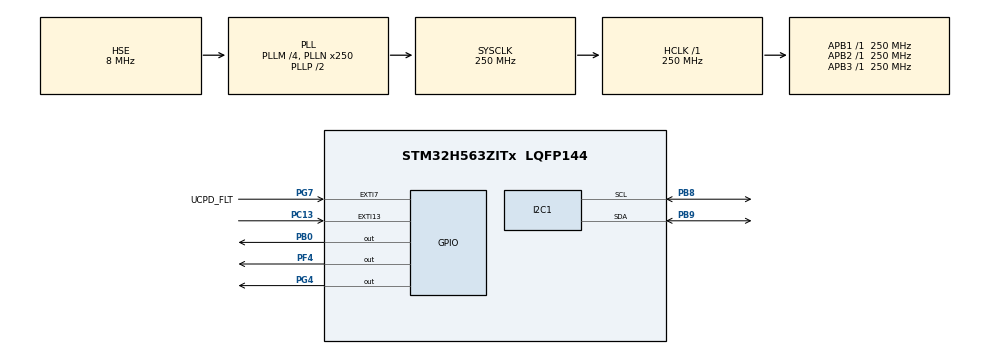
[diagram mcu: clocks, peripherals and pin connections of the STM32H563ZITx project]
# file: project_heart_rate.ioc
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BOOTPATH.BootPathName=LEGACY
BOOTPATH.UserSelectedBootPath=LEGACY
CORTEX_M33_NS.userName=CORTEX_M33
I2C1.Timing=0x60808CD3
Mcu.Family=STM32H5
Mcu.Name=STM32H563ZITx
Mcu.Package=LQFP144
NVIC.PriorityGroup=NVIC_PRIORITYGROUP_3
NVIC.TIM2_IRQn=true\:0\:1\:false\:false\:true\:true\:true\:true
PA1.GPIO_Label=RMII_REF_CLK
PA1.GPIO_Mode=GPIO_MODE_AF_PP
PA1.GPIO_PuPd=GPIO_NOPULL
PA1.GPIO_Speed=GPIO_SPEED_FREQ_LOW
PA1.Signal=ETH_REF_CLK
PA11.GPIO_Label=USB_FS_N
PA11.Signal=USB_DM
PA12.GPIO_Label=USB_FS_P
PA12.Signal=USB_DP
PA13(JTMS/SWDIO).GPIO_Label=SWDIO
PA13(JTMS/SWDIO).Signal=DEBUG_JTMS-SWDIO
PA14(JTCK/SWCLK).GPIO_Label=SWCLK
PA14(JTCK/SWCLK).Signal=DEBUG_JTCK-SWCLK
PA15(JTDI).GPIO_Label=T_JTDI
PA15(JTDI).Signal=DEBUG_JTDI
PA2.GPIO_Label=RMII_MDIO
PA2.GPIO_Mode=GPIO_MODE_AF_PP
PA2.GPIO_PuPd=GPIO_NOPULL
PA2.GPIO_Speed=GPIO_SPEED_FREQ_LOW
PA2.Signal=ETH_MDIO
PA4.GPIO_Label=VBUS_SENSE
PA4.Signal=ADCx_INP18
PA7.GPIO_Label=RMII_CRS_DV
PA7.GPIO_Mode=GPIO_MODE_AF_PP
PA7.GPIO_PuPd=GPIO_NOPULL
PA7.GPIO_Speed=GPIO_SPEED_FREQ_LOW
PA7.Signal=ETH_CRS_DV
PA9.GPIO_Label=UCDP_DBn
PA9.Signal=UCPD1_DB1
PB0.Signal=GPIO_Output
PB13.GPIO_Label=UCPD_CC1
PB13.Signal=UCPD1_CC1
PB14.GPIO_Label=UCPD_CC2
PB14.Signal=UCPD1_CC2
PB15.GPIO_Label=RMII_TXD1
PB15.GPIO_Mode=GPIO_MODE_AF_PP
PB15.GPIO_PuPd=GPIO_NOPULL
PB15.GPIO_Speed=GPIO_SPEED_FREQ_LOW
PB15.Signal=ETH_TXD1
PB3(JTDO/TRACESWO).GPIO_Label=SWO
PB3(JTDO/TRACESWO).Signal=DEBUG_JTDO-SWO
PB6.GPIO_Label=ARD_D1_TX
PB6.Signal=LPUART1_TX
PB7.GPIO_Label=ARD_D0_RX
PB7.Signal=LPUART1_RX
PB8.Mode=I2C
PB8.Signal=I2C1_SCL
PB9.Mode=I2C
PB9.Signal=I2C1_SDA
PC1.GPIO_Label=RMII_MDC
PC1.GPIO_Mode=GPIO_MODE_AF_PP
PC1.GPIO_PuPd=GPIO_NOPULL
PC1.GPIO_Speed=GPIO_SPEED_FREQ_LOW
PC1.Signal=ETH_MDC
PC13.Signal=GPXTI13
PC14-OSC32_IN(OSC32_IN).Mode=LSE-External-Oscillator
PC14-OSC32_IN(OSC32_IN).Signal=RCC_OSC32_IN
PC15-OSC32_OUT(OSC32_OUT).Mode=LSE-External-Oscillator
PC15-OSC32_OUT(OSC32_OUT).Signal=RCC_OSC32_OUT
PC4.GPIO_Label=RMII_RXD0
PC4.GPIO_Mode=GPIO_MODE_AF_PP
PC4.GPIO_PuPd=GPIO_NOPULL
PC4.GPIO_Speed=GPIO_SPEED_FREQ_LOW
PC4.Signal=ETH_RXD0
PC5.GPIO_Label=RMII_RXD1
PC5.GPIO_Mode=GPIO_MODE_AF_PP
PC5.GPIO_PuPd=GPIO_NOPULL
PC5.GPIO_Speed=GPIO_SPEED_FREQ_LOW
PC5.Signal=ETH_RXD1
PD8.Signal=USART3_TX
PD9.Signal=USART3_RX
PE2.GPIO_Label=TRACE_CK
PE2.Signal=DEBUG_TRACECLK
PE3.GPIO_Label=TRACE_D0
PE3.Signal=DEBUG_TRACED0
PE4.GPIO_Label=TRACE_D1
PE4.Signal=DEBUG_TRACED1
PE5.GPIO_Label=TRACE_D2
PE5.Signal=DEBUG_TRACED2
PE6.GPIO_Label=TRACE_D3
PE6.Signal=DEBUG_TRACED3
PF4.Signal=GPIO_Output
PG11.GPIO_Label=RMII_TXT_EN
PG11.GPIO_Mode=GPIO_MODE_AF_PP
PG11.GPIO_PuPd=GPIO_NOPULL
PG11.GPIO_Speed=GPIO_SPEED_FREQ_LOW
PG11.Signal=ETH_TX_EN
PG13.GPIO_Label=RMI_TXD0
PG13.GPIO_Mode=GPIO_MODE_AF_PP
PG13.GPIO_PuPd=GPIO_NOPULL
PG13.GPIO_Speed=GPIO_SPEED_FREQ_LOW
PG13.Signal=ETH_TXD0
PG4.Signal=GPIO_Output
PG7.GPIO_Label=UCPD_FLT
PG7.Signal=GPXTI7
PH0-OSC_IN(PH0).GPIO_Label=STLK_MCO
PH0-OSC_IN(PH0).Mode=HSE-External-Clock-Source
PH0-OSC_IN(PH0).Signal=RCC_OSC_IN
ProjectManager.HeapSize=0x200
ProjectManager.StackSize=0x400
ProjectManager.TargetToolchain=STM32CubeIDE
RCC.ADCFreq_Value=250000000
RCC.AHBFreq_Value=250000000
RCC.APB1Freq_Value=250000000
RCC.APB1TimFreq_Value=250000000
RCC.APB2Freq_Value=250000000
RCC.APB2TimFreq_Value=250000000
RCC.APB3Freq_Value=250000000
RCC.CSI_VALUE=4000000
RCC.CortexFreq_Value=250000000
RCC.EPOD_VALUE=8000000
RCC.HCLKFreq_Value=250000000
RCC.HSE_VALUE=8000000
RCC.HSI48_VALUE=48000000
RCC.HSIDiv=RCC_HSI_DIV1
RCC.HSI_VALUE=64000000
RCC.LSIRC_VALUE=32000
RCC.PLLM=4
RCC.PLLN=250
RCC.PLLSourceVirtual=RCC_PLL1_SOURCE_HSE
RCC.SYSCLKFreq_VALUE=250000000
RCC.SYSCLKSource=RCC_SYSCLKSOURCE_PLLCLK
RCC.USBFreq_Value=48000000
RCC.VCOOutputFreq_Value=500000000
SH.ADCx_INP18.0=ADC1_INP18
TIM2.PeriodNoDither=99
TIM2.Prescaler=24999
VP_BOOTPATH_VS_BOOTPATH.Mode=BP_Activate
VP_CORTEX_M33_NS_VS_Hclk.Mode=Hclk_Mode
VP_MEMORYMAP_VS_MEMORYMAP.Mode=CurAppReg
VP_PWR_VS_DBSignals.Mode=DisableDeadBatterySignals
VP_PWR_VS_LPOM.Mode=PowerOptimisation
VP_PWR_VS_SECSignals.Mode=Security/Privilege
VP_TIM2_VS_ClockSourceINT.Mode=Internal
board=NUCLEO-H563ZI

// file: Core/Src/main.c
/* USER CODE BEGIN Header */
/**
  ******************************************************************************
  * @file           : main.c
  * @brief          : Main program body
  ******************************************************************************
  * @attention
  *
  * Copyright (c) 2025 STMicroelectronics.
  * All rights reserved.
  *
  * This software is licensed under terms that can be found in the LICENSE file
  * in the root directory of this software component.
  * If no LICENSE file comes with this software, it is provided AS-IS.
  *
  ******************************************************************************
  */
/* USER CODE END Header */
#include "main.h"

/* USER CODE BEGIN Includes */
#include <math.h>
#include <string.h>
#include <stdio.h>
#include <stdlib.h>
/* USER CODE END Includes */

/* USER CODE BEGIN PTD */
#define SAMPLE_BUFFER_SIZE          500

typedef struct {
     uint32_t red[SAMPLE_BUFFER_SIZE];
     uint32_t ir[SAMPLE_BUFFER_SIZE];
     float red_filtered[SAMPLE_BUFFER_SIZE];
     float ir_filtered[SAMPLE_BUFFER_SIZE];
     uint16_t head;
     uint16_t count;
     float red_dc;
     float ir_dc;
     float red_prev_filtered;
     float ir_prev_filtered;
     uint8_t signal_quality;
 } SensorData_t;

 typedef struct {
	 float heart_rate_buffer[10];  // Last 10 HR readings
	 float spo2_buffer[10];        // Last 10 SpO2 readings
	 uint8_t hr_buffer_index;
	 uint8_t spo2_buffer_index;
	 uint8_t hr_valid_count;
	 uint8_t spo2_valid_count;
	 float stable_heart_rate;
	 float stable_spo2;
	 uint8_t finger_detected;
	 uint8_t valid_reading;
	 uint32_t last_valid_time;
	 uint8_t stability_counter;
 } VitalSigns_t;
/* USER CODE END PTD */

/* USER CODE BEGIN PM */
/* MAX30102 Register Addresses */
 #define MAX30102_I2C_ADDR           0xAE  // 0x57 << 1
 #define MAX30102_INT_STATUS_1       0x00
 #define MAX30102_INT_STATUS_2       0x01
 #define MAX30102_INT_ENABLE_1       0x02
 #define MAX30102_INT_ENABLE_2       0x03
 #define MAX30102_FIFO_WR_PTR        0x04
 #define MAX30102_FIFO_RD_PTR        0x06
 #define MAX30102_FIFO_DATA          0x07
 #define MAX30102_FIFO_CONFIG        0x08
 #define MAX30102_MODE_CONFIG        0x09
 #define MAX30102_SPO2_CONFIG        0x0A
 #define MAX30102_LED1_PA            0x0C  // Red LED
 #define MAX30102_LED2_PA            0x0D  // IR LED
 #define MAX30102_PILOT_PA           0x10
 #define MAX30102_MULTI_LED_CTRL1    0x11
 #define MAX30102_MULTI_LED_CTRL2    0x12
 #define MAX30102_TEMP_INT           0x1F
 #define MAX30102_TEMP_FRAC          0x20
 #define MAX30102_TEMP_CONFIG        0x21
 #define MAX30102_PROX_INT_THRESH    0x30
 #define MAX30102_REV_ID             0xFE
 #define MAX30102_PART_ID            0xFF

 /* Configuration Constants */

#define MIN_SAMPLES_FOR_HR          200   // Increased for better accuracy
#define MIN_SAMPLES_FOR_SPO2        300   // Increased for better accuracy
#define STABILITY_THRESHOLD         5     // Require 5 consecutive stable readings
#define MAX_HR_VARIATION           15     // Max BPM variation for stability
#define MAX_SPO2_VARIATION         3      // Max SpO2% variation for stability
#define OUTPUT_DELAY_MS            3000   // 3 second delay before first output
#define UPDATE_INTERVAL_MS         2000   // Update every 2 seconds after stabilization
#define SIGNAL_QUALITY_THRESHOLD   30    // Minimum signal quality required
 #define MOVING_AVERAGE_SIZE         4
 #define DC_REMOVAL_ALPHA            0.95f
 #define BUTTERWORTH_CUTOFF_HZ       3.0f
 #define SAMPLING_RATE_HZ            100.0f

 /* Calibration Constants for SpO2 */
 #define SPO2_A                      -45.060f
 #define SPO2_B                      30.354f
 #define SPO2_C                      94.845f
/* USER CODE END PM */

I2C_HandleTypeDef hi2c1;

TIM_HandleTypeDef htim2;

/* USER CODE BEGIN PV */
SensorData_t sensor_data = {0};
VitalSigns_t vital_signs = {0};
/* USER CODE END PV */

void SystemClock_Config(void);
static void MX_GPIO_Init(void);
static void MX_I2C1_Init(void);
static void MX_TIM2_Init(void);
/* USER CODE BEGIN PFP */
void MAX30102_Init(void);
void MAX30102_ReadFIFO(void);
void ProcessSignals(void);
float CalculateHeartRateEnhanced(void);
float CalculateSpO2Enhanced(void);
void ApplyDCRemoval(float *signal, float *dc_value, float alpha, uint16_t length);
void ApplyButterworthFilter(float *signal, float *prev_filtered, uint16_t length);
uint8_t DetectFingerPresenceEnhanced(void);
void BlinkLED(void);
void ProcessVitalSigns(void);
uint8_t AddReadingAndCheckStability(float hr, float spo2);
uint8_t AssessSignalQuality(void);
/* USER CODE END PFP */

int main(void)
{

  /* MCU Configuration--------------------------------------------------------*/

  /* Reset of all peripherals, Initializes the Flash interface and the Systick. */
  HAL_Init();

  /* Configure the system clock */
  SystemClock_Config();

  /* Initialize all configured peripherals */
  MX_GPIO_Init();
  MX_I2C1_Init();
  MX_TIM2_Init();
  /* USER CODE BEGIN 2 */
  HAL_TIM_Base_Start_IT(&htim2);
  /* Enable Timer interrupt */
  HAL_NVIC_SetPriority(TIM2_IRQn, 0, 0);
  HAL_NVIC_EnableIRQ(TIM2_IRQn);

  MAX30102_Init();
  HAL_Delay(1000);
  /* USER CODE END 2 */

  /* Infinite loop */
  while (1)
  {

    /* USER CODE BEGIN 3 */
	  if (sensor_data.count >= MIN_SAMPLES_FOR_HR) {
	      ProcessSignals();
	      ProcessVitalSigns();
	      BlinkLED();
	  }
	  HAL_Delay(50);	       }
  /* USER CODE END 3 */
}

void SystemClock_Config(void)
{
  RCC_OscInitTypeDef RCC_OscInitStruct = {0};
  RCC_ClkInitTypeDef RCC_ClkInitStruct = {0};

  /** Configure the main internal regulator output voltage
  */
  __HAL_PWR_VOLTAGESCALING_CONFIG(PWR_REGULATOR_VOLTAGE_SCALE0);

  while(!__HAL_PWR_GET_FLAG(PWR_FLAG_VOSRDY)) {}

  /** Initializes the RCC Oscillators according to the specified parameters
  * in the RCC_OscInitTypeDef structure.
  */
  RCC_OscInitStruct.OscillatorType = RCC_OSCILLATORTYPE_HSE;
  RCC_OscInitStruct.HSEState = RCC_HSE_BYPASS;
  RCC_OscInitStruct.PLL.PLLState = RCC_PLL_ON;
  RCC_OscInitStruct.PLL.PLLSource = RCC_PLL1_SOURCE_HSE;
  RCC_OscInitStruct.PLL.PLLM = 4;
  RCC_OscInitStruct.PLL.PLLN = 250;
  RCC_OscInitStruct.PLL.PLLP = 2;
  RCC_OscInitStruct.PLL.PLLQ = 2;
  RCC_OscInitStruct.PLL.PLLR = 2;
  RCC_OscInitStruct.PLL.PLLRGE = RCC_PLL1_VCIRANGE_1;
  RCC_OscInitStruct.PLL.PLLVCOSEL = RCC_PLL1_VCORANGE_WIDE;
  RCC_OscInitStruct.PLL.PLLFRACN = 0;
  if (HAL_RCC_OscConfig(&RCC_OscInitStruct) != HAL_OK)
  {
    Error_Handler();
  }

  /** Initializes the CPU, AHB and APB buses clocks
  */
  RCC_ClkInitStruct.ClockType = RCC_CLOCKTYPE_HCLK|RCC_CLOCKTYPE_SYSCLK
                              |RCC_CLOCKTYPE_PCLK1|RCC_CLOCKTYPE_PCLK2
                              |RCC_CLOCKTYPE_PCLK3;
  RCC_ClkInitStruct.SYSCLKSource = RCC_SYSCLKSOURCE_PLLCLK;
  RCC_ClkInitStruct.AHBCLKDivider = RCC_SYSCLK_DIV1;
  RCC_ClkInitStruct.APB1CLKDivider = RCC_HCLK_DIV1;
  RCC_ClkInitStruct.APB2CLKDivider = RCC_HCLK_DIV1;
  RCC_ClkInitStruct.APB3CLKDivider = RCC_HCLK_DIV1;

  if (HAL_RCC_ClockConfig(&RCC_ClkInitStruct, FLASH_LATENCY_5) != HAL_OK)
  {
    Error_Handler();
  }

  /** Configure the programming delay
  */
  __HAL_FLASH_SET_PROGRAM_DELAY(FLASH_PROGRAMMING_DELAY_2);
}

static void MX_I2C1_Init(void)
{

  hi2c1.Instance = I2C1;
  hi2c1.Init.Timing = 0x60808CD3;
  hi2c1.Init.OwnAddress1 = 0;
  hi2c1.Init.AddressingMode = I2C_ADDRESSINGMODE_7BIT;
  hi2c1.Init.DualAddressMode = I2C_DUALADDRESS_DISABLE;
  hi2c1.Init.OwnAddress2 = 0;
  hi2c1.Init.OwnAddress2Masks = I2C_OA2_NOMASK;
  hi2c1.Init.GeneralCallMode = I2C_GENERALCALL_DISABLE;
  hi2c1.Init.NoStretchMode = I2C_NOSTRETCH_DISABLE;
  if (HAL_I2C_Init(&hi2c1) != HAL_OK)
  {
    Error_Handler();
  }

  /** Configure Analogue filter
  */
  if (HAL_I2CEx_ConfigAnalogFilter(&hi2c1, I2C_ANALOGFILTER_ENABLE) != HAL_OK)
  {
    Error_Handler();
  }

  /** Configure Digital filter
  */
  if (HAL_I2CEx_ConfigDigitalFilter(&hi2c1, 0) != HAL_OK)
  {
    Error_Handler();
  }

}

static void MX_TIM2_Init(void)
{

  TIM_ClockConfigTypeDef sClockSourceConfig = {0};
  TIM_MasterConfigTypeDef sMasterConfig = {0};

  htim2.Instance = TIM2;
  htim2.Init.Prescaler = 24999;
  htim2.Init.CounterMode = TIM_COUNTERMODE_UP;
  htim2.Init.Period = 99;
  htim2.Init.ClockDivision = TIM_CLOCKDIVISION_DIV1;
  htim2.Init.AutoReloadPreload = TIM_AUTORELOAD_PRELOAD_DISABLE;
  if (HAL_TIM_Base_Init(&htim2) != HAL_OK)
  {
    Error_Handler();
  }
  sClockSourceConfig.ClockSource = TIM_CLOCKSOURCE_INTERNAL;
  if (HAL_TIM_ConfigClockSource(&htim2, &sClockSourceConfig) != HAL_OK)
  {
    Error_Handler();
  }
  sMasterConfig.MasterOutputTrigger = TIM_TRGO_RESET;
  sMasterConfig.MasterSlaveMode = TIM_MASTERSLAVEMODE_DISABLE;
  if (HAL_TIMEx_MasterConfigSynchronization(&htim2, &sMasterConfig) != HAL_OK)
  {
    Error_Handler();
  }

}

static void MX_GPIO_Init(void)
{
  GPIO_InitTypeDef GPIO_InitStruct = {0};

  /* GPIO Ports Clock Enable */
  __HAL_RCC_GPIOE_CLK_ENABLE();
  __HAL_RCC_GPIOC_CLK_ENABLE();
  __HAL_RCC_GPIOF_CLK_ENABLE();
  __HAL_RCC_GPIOH_CLK_ENABLE();
  __HAL_RCC_GPIOA_CLK_ENABLE();
  __HAL_RCC_GPIOB_CLK_ENABLE();
  __HAL_RCC_GPIOD_CLK_ENABLE();
  __HAL_RCC_GPIOG_CLK_ENABLE();

  /*Configure GPIO pin Output Level */
  HAL_GPIO_WritePin(GPIOF, GPIO_PIN_4, GPIO_PIN_RESET);

  /*Configure GPIO pin Output Level */
  HAL_GPIO_WritePin(GPIOB, GPIO_PIN_0, GPIO_PIN_RESET);

  /*Configure GPIO pin Output Level */
  HAL_GPIO_WritePin(GPIOG, GPIO_PIN_4, GPIO_PIN_RESET);

  /*Configure GPIO pin : PC13 */
  GPIO_InitStruct.Pin = GPIO_PIN_13;
  GPIO_InitStruct.Mode = GPIO_MODE_IT_RISING;
  GPIO_InitStruct.Pull = GPIO_NOPULL;
  HAL_GPIO_Init(GPIOC, &GPIO_InitStruct);

  /*Configure GPIO pin : PF4 */
  GPIO_InitStruct.Pin = GPIO_PIN_4;
  GPIO_InitStruct.Mode = GPIO_MODE_OUTPUT_PP;
  GPIO_InitStruct.Pull = GPIO_NOPULL;
  GPIO_InitStruct.Speed = GPIO_SPEED_FREQ_LOW;
  HAL_GPIO_Init(GPIOF, &GPIO_InitStruct);

  /*Configure GPIO pins : RMII_MDC_Pin RMII_RXD0_Pin RMII_RXD1_Pin */
  GPIO_InitStruct.Pin = RMII_MDC_Pin|RMII_RXD0_Pin|RMII_RXD1_Pin;
  GPIO_InitStruct.Mode = GPIO_MODE_AF_PP;
  GPIO_InitStruct.Pull = GPIO_NOPULL;
  GPIO_InitStruct.Speed = GPIO_SPEED_FREQ_HIGH;
  GPIO_InitStruct.Alternate = GPIO_AF11_ETH;
  HAL_GPIO_Init(GPIOC, &GPIO_InitStruct);

  /*Configure GPIO pins : RMII_REF_CLK_Pin RMII_MDIO_Pin RMII_CRS_DV_Pin */
  GPIO_InitStruct.Pin = RMII_REF_CLK_Pin|RMII_MDIO_Pin|RMII_CRS_DV_Pin;
  GPIO_InitStruct.Mode = GPIO_MODE_AF_PP;
  GPIO_InitStruct.Pull = GPIO_NOPULL;
  GPIO_InitStruct.Speed = GPIO_SPEED_FREQ_HIGH;
  GPIO_InitStruct.Alternate = GPIO_AF11_ETH;
  HAL_GPIO_Init(GPIOA, &GPIO_InitStruct);

  /*Configure GPIO pin : VBUS_SENSE_Pin */
  GPIO_InitStruct.Pin = VBUS_SENSE_Pin;
  GPIO_InitStruct.Mode = GPIO_MODE_ANALOG;
  GPIO_InitStruct.Pull = GPIO_NOPULL;
  HAL_GPIO_Init(VBUS_SENSE_GPIO_Port, &GPIO_InitStruct);

  /*Configure GPIO pin : PB0 */
  GPIO_InitStruct.Pin = GPIO_PIN_0;
  GPIO_InitStruct.Mode = GPIO_MODE_OUTPUT_PP;
  GPIO_InitStruct.Pull = GPIO_NOPULL;
  GPIO_InitStruct.Speed = GPIO_SPEED_FREQ_LOW;
  HAL_GPIO_Init(GPIOB, &GPIO_InitStruct);

  /*Configure GPIO pins : UCPD_CC1_Pin UCPD_CC2_Pin */
  GPIO_InitStruct.Pin = UCPD_CC1_Pin|UCPD_CC2_Pin;
  GPIO_InitStruct.Mode = GPIO_MODE_ANALOG;
  GPIO_InitStruct.Pull = GPIO_NOPULL;
  HAL_GPIO_Init(GPIOB, &GPIO_InitStruct);

  /*Configure GPIO pin : RMII_TXD1_Pin */
  GPIO_InitStruct.Pin = RMII_TXD1_Pin;
  GPIO_InitStruct.Mode = GPIO_MODE_AF_PP;
  GPIO_InitStruct.Pull = GPIO_NOPULL;
  GPIO_InitStruct.Speed = GPIO_SPEED_FREQ_HIGH;
  GPIO_InitStruct.Alternate = GPIO_AF11_ETH;
  HAL_GPIO_Init(RMII_TXD1_GPIO_Port, &GPIO_InitStruct);

  /*Configure GPIO pins : PD8 PD9 */
  GPIO_InitStruct.Pin = GPIO_PIN_8|GPIO_PIN_9;
  GPIO_InitStruct.Mode = GPIO_MODE_AF_PP;
  GPIO_InitStruct.Pull = GPIO_NOPULL;
  GPIO_InitStruct.Speed = GPIO_SPEED_FREQ_LOW;
  GPIO_InitStruct.Alternate = GPIO_AF7_USART3;
  HAL_GPIO_Init(GPIOD, &GPIO_InitStruct);

  /*Configure GPIO pin : PG4 */
  GPIO_InitStruct.Pin = GPIO_PIN_4;
  GPIO_InitStruct.Mode = GPIO_MODE_OUTPUT_PP;
  GPIO_InitStruct.Pull = GPIO_NOPULL;
  GPIO_InitStruct.Speed = GPIO_SPEED_FREQ_LOW;
  HAL_GPIO_Init(GPIOG, &GPIO_InitStruct);

  /*Configure GPIO pin : UCPD_FLT_Pin */
  GPIO_InitStruct.Pin = UCPD_FLT_Pin;
  GPIO_InitStruct.Mode = GPIO_MODE_IT_RISING;
  GPIO_InitStruct.Pull = GPIO_NOPULL;
  HAL_GPIO_Init(UCPD_FLT_GPIO_Port, &GPIO_InitStruct);

  /*Configure GPIO pins : USB_FS_N_Pin USB_FS_P_Pin */
  GPIO_InitStruct.Pin = USB_FS_N_Pin|USB_FS_P_Pin;
  GPIO_InitStruct.Mode = GPIO_MODE_AF_PP;
  GPIO_InitStruct.Pull = GPIO_NOPULL;
  GPIO_InitStruct.Speed = GPIO_SPEED_FREQ_LOW;
  GPIO_InitStruct.Alternate = GPIO_AF10_USB;
  HAL_GPIO_Init(GPIOA, &GPIO_InitStruct);

  /*Configure GPIO pins : RMII_TXT_EN_Pin RMI_TXD0_Pin */
  GPIO_InitStruct.Pin = RMII_TXT_EN_Pin|RMI_TXD0_Pin;
  GPIO_InitStruct.Mode = GPIO_MODE_AF_PP;
  GPIO_InitStruct.Pull = GPIO_NOPULL;
  GPIO_InitStruct.Speed = GPIO_SPEED_FREQ_HIGH;
  GPIO_InitStruct.Alternate = GPIO_AF11_ETH;
  HAL_GPIO_Init(GPIOG, &GPIO_InitStruct);

  /*Configure GPIO pins : ARD_D1_TX_Pin ARD_D0_RX_Pin */
  GPIO_InitStruct.Pin = ARD_D1_TX_Pin|ARD_D0_RX_Pin;
  GPIO_InitStruct.Mode = GPIO_MODE_AF_PP;
  GPIO_InitStruct.Pull = GPIO_NOPULL;
  GPIO_InitStruct.Speed = GPIO_SPEED_FREQ_LOW;
  GPIO_InitStruct.Alternate = GPIO_AF8_LPUART1;
  HAL_GPIO_Init(GPIOB, &GPIO_InitStruct);

}

/* USER CODE BEGIN 4 */
/* MAX30102 Initialization */
 void MAX30102_Init(void) {
     uint8_t data;

     /* Reset MAX30102 */
     data = 0x40;
     HAL_I2C_Mem_Write(&hi2c1, MAX30102_I2C_ADDR, MAX30102_MODE_CONFIG, 1, &data, 1, 1000);
     HAL_Delay(100);

     /* Configure FIFO */
     data = 0x4F;  // Sample averaging = 1, FIFO rollover enabled, FIFO almost full = 15
     HAL_I2C_Mem_Write(&hi2c1, MAX30102_I2C_ADDR, MAX30102_FIFO_CONFIG, 1, &data, 1, 1000);

     /* Configure Mode - SpO2 mode */
     data = 0x03;
     HAL_I2C_Mem_Write(&hi2c1, MAX30102_I2C_ADDR, MAX30102_MODE_CONFIG, 1, &data, 1, 1000);

     /* Configure SpO2 settings */
     data = 0x27;  // SPO2_ADC_RGE = 4096nA, SPO2_SR = 100Hz, LED_PW = 411μs
     HAL_I2C_Mem_Write(&hi2c1, MAX30102_I2C_ADDR, MAX30102_SPO2_CONFIG, 1, &data, 1, 1000);

     /* Configure LED pulse amplitudes */
     data = 0x24;  // Red LED current = ~7mA
     HAL_I2C_Mem_Write(&hi2c1, MAX30102_I2C_ADDR, MAX30102_LED1_PA, 1, &data, 1, 1000);

     data = 0x24;  // IR LED current = ~7mA
     HAL_I2C_Mem_Write(&hi2c1, MAX30102_I2C_ADDR, MAX30102_LED2_PA, 1, &data, 1, 1000);

     /* Clear FIFO pointers */
     data = 0x00;
     HAL_I2C_Mem_Write(&hi2c1, MAX30102_I2C_ADDR, MAX30102_FIFO_WR_PTR, 1, &data, 1, 1000);
     HAL_I2C_Mem_Write(&hi2c1, MAX30102_I2C_ADDR, MAX30102_FIFO_RD_PTR, 1, &data, 1, 1000);
 }

 /* Read FIFO Data */
 void MAX30102_ReadFIFO(void) {
     uint8_t fifo_data[6];
     uint32_t red_sample, ir_sample;

     /* Read 6 bytes (1 sample of Red + IR) */
     if (HAL_I2C_Mem_Read(&hi2c1, MAX30102_I2C_ADDR, MAX30102_FIFO_DATA, 1, fifo_data, 6, 1000) == HAL_OK) {
         /* Extract Red LED data (18-bit) */
         red_sample = ((uint32_t)fifo_data[0] << 16) | ((uint32_t)fifo_data[1] << 8) | fifo_data[2];
         red_sample &= 0x3FFFF;  // 18-bit mask

         /* Extract IR LED data (18-bit) */
         ir_sample = ((uint32_t)fifo_data[3] << 16) | ((uint32_t)fifo_data[4] << 8) | fifo_data[5];
         ir_sample &= 0x3FFFF;   // 18-bit mask

         /* Store in circular buffer */
         sensor_data.red[sensor_data.head] = red_sample;
         sensor_data.ir[sensor_data.head] = ir_sample;

         sensor_data.head = (sensor_data.head + 1) % SAMPLE_BUFFER_SIZE;
         if (sensor_data.count < SAMPLE_BUFFER_SIZE) {
             sensor_data.count++;
         }
     }
 }

 /* Enhanced signal quality assessment */
 uint8_t AssessSignalQuality(void) {
     float red_snr, ir_snr;
     float red_ac = 0, red_dc_avg = 0;
     float ir_ac = 0, ir_dc_avg = 0;
     uint16_t i;
     uint8_t quality_score = 0;

     if (sensor_data.count < MIN_SAMPLES_FOR_HR) return 0;

     // Calculate DC components
     for (i = 0; i < sensor_data.count; i++) {
         red_dc_avg += (float)sensor_data.red[i];
         ir_dc_avg += (float)sensor_data.ir[i];
     }
     red_dc_avg /= sensor_data.count;
     ir_dc_avg /= sensor_data.count;

     // Calculate AC RMS
     for (i = 0; i < sensor_data.count; i++) {
         float red_diff = (float)sensor_data.red[i] - red_dc_avg;
         float ir_diff = (float)sensor_data.ir[i] - ir_dc_avg;
         red_ac += red_diff * red_diff;
         ir_ac += ir_diff * ir_diff;
     }
     red_ac = sqrtf(red_ac / sensor_data.count);
     ir_ac = sqrtf(ir_ac / sensor_data.count);

     // Calculate SNR
     if (red_dc_avg > 0 && ir_dc_avg > 0) {
         red_snr = red_ac / red_dc_avg;
         ir_snr = ir_ac / ir_dc_avg;

         // Quality based on signal strength and SNR
         if (red_dc_avg > 80000 && ir_dc_avg > 80000) quality_score += 30;
         else if (red_dc_avg > 50000 && ir_dc_avg > 50000) quality_score += 20;
         else if (red_dc_avg > 30000 && ir_dc_avg > 30000) quality_score += 10;

         // Quality based on AC component (perfusion)
         if (red_snr > 0.02 && ir_snr > 0.02) quality_score += 40;
         else if (red_snr > 0.01 && ir_snr > 0.01) quality_score += 20;

         // Quality based on signal stability (check for motion artifacts)
         float red_variance = 0, ir_variance = 0;
         for (i = 1; i < sensor_data.count; i++) {
             float red_diff = (float)sensor_data.red[i] - (float)sensor_data.red[i-1];
             float ir_diff = (float)sensor_data.ir[i] - (float)sensor_data.ir[i-1];
             red_variance += red_diff * red_diff;
             ir_variance += ir_diff * ir_diff;
         }
         red_variance /= (sensor_data.count - 1);
         ir_variance /= (sensor_data.count - 1);

         if (red_variance < 10000000 && ir_variance < 10000000) quality_score += 30;
         else if (red_variance < 50000000 && ir_variance < 50000000) quality_score += 15;
     }

     return (quality_score > 100) ? 100 : quality_score;
 }

 // Improved ProcessSignals function to handle circular buffer correctly
 void ProcessSignals(void) {
     uint16_t i;

     // Copy data maintaining chronological order
     if (sensor_data.count < SAMPLE_BUFFER_SIZE) {
         // Buffer not full yet, copy from beginning
         for (i = 0; i < sensor_data.count; i++) {
             sensor_data.red_filtered[i] = (float)sensor_data.red[i];
             sensor_data.ir_filtered[i] = (float)sensor_data.ir[i];
         }
     } else {
         // Buffer is full, copy in chronological order
         for (i = 0; i < SAMPLE_BUFFER_SIZE; i++) {
             uint16_t idx = (sensor_data.head + i) % SAMPLE_BUFFER_SIZE;
             sensor_data.red_filtered[i] = (float)sensor_data.red[idx];
             sensor_data.ir_filtered[i] = (float)sensor_data.ir[idx];
         }
     }

     /* Apply DC removal filter */
     ApplyDCRemoval(sensor_data.red_filtered, &sensor_data.red_dc, DC_REMOVAL_ALPHA, sensor_data.count);
     ApplyDCRemoval(sensor_data.ir_filtered, &sensor_data.ir_dc, DC_REMOVAL_ALPHA, sensor_data.count);

     /* Apply Butterworth low-pass filter */
     ApplyButterworthFilter(sensor_data.red_filtered, &sensor_data.red_prev_filtered, sensor_data.count);
     ApplyButterworthFilter(sensor_data.ir_filtered, &sensor_data.ir_prev_filtered, sensor_data.count);
 }

 /* DC Removal Filter */
 void ApplyDCRemoval(float *signal, float *dc_value, float alpha, uint16_t length) {
     uint16_t i;
     for (i = 0; i < length; i++) {
         *dc_value = alpha * (*dc_value) + (1.0f - alpha) * signal[i];
         signal[i] = signal[i] - *dc_value;
     }
 }

 /* Butterworth Low-pass Filter */
 void ApplyButterworthFilter(float *signal, float *prev_filtered, uint16_t length) {
     float RC = 1.0f / (2.0f * M_PI * BUTTERWORTH_CUTOFF_HZ);
     float dt = 1.0f / SAMPLING_RATE_HZ;
     float alpha = dt / (RC + dt);

     uint16_t i;
     for (i = 0; i < length; i++) {
         if (i == 0) {
             signal[i] = alpha * signal[i] + (1.0f - alpha) * (*prev_filtered);
         } else {
             signal[i] = alpha * signal[i] + (1.0f - alpha) * signal[i-1];
         }
     }
     *prev_filtered = signal[length-1];
 }

 /* Enhanced heart rate calculation with better peak detection */
 float CalculateHeartRateEnhanced(void) {
     uint16_t i;
     float peaks[50];
     uint16_t peak_indices[50];
     uint16_t peak_count = 0;
     float max_val = -999999.0f, min_val = 999999.0f;
     float mean_val = 0;
     uint32_t peak_intervals[49];
     uint8_t interval_count = 0;

     // Calculate statistics
     for (i = 0; i < sensor_data.count; i++) {
         mean_val += sensor_data.red_filtered[i];
         if (sensor_data.red_filtered[i] > max_val) max_val = sensor_data.red_filtered[i];
         if (sensor_data.red_filtered[i] < min_val) min_val = sensor_data.red_filtered[i];
     }
     mean_val /= sensor_data.count;

     // Dynamic threshold based on signal characteristics
     float signal_range = max_val - min_val;
     float threshold = mean_val + signal_range * 0.3f;

     // Minimum distance between peaks (prevent double counting)
     uint16_t min_peak_distance = (uint16_t)(SAMPLING_RATE_HZ * 0.4f); // 400ms minimum

     // Enhanced peak detection with slope analysis
     for (i = 3; i < sensor_data.count - 3; i++) {
         if (sensor_data.red_filtered[i] > threshold &&
             sensor_data.red_filtered[i] > sensor_data.red_filtered[i-1] &&
             sensor_data.red_filtered[i] > sensor_data.red_filtered[i+1] &&
             sensor_data.red_filtered[i] > sensor_data.red_filtered[i-2] &&
             sensor_data.red_filtered[i] > sensor_data.red_filtered[i+2] &&
             sensor_data.red_filtered[i] > sensor_data.red_filtered[i-3] &&
             sensor_data.red_filtered[i] > sensor_data.red_filtered[i+3]) {

             // Check if minimum distance from last peak
             if (peak_count == 0 || (i - peak_indices[peak_count-1]) > min_peak_distance) {
                 peaks[peak_count] = sensor_data.red_filtered[i];
                 peak_indices[peak_count] = i;
                 peak_count++;

                 if (peak_count >= 50) break; // Prevent overflow
             }
         }
     }

     if (peak_count < 3) return 0.0f;

     // Calculate intervals between consecutive peaks
     for (i = 1; i < peak_count && interval_count < 49; i++) {
         uint32_t interval = peak_indices[i] - peak_indices[i-1];

         // Filter out unrealistic intervals
         float bpm = (SAMPLING_RATE_HZ * 60.0f) / (float)interval;
         if (bpm >= 40 && bpm <= 200) {
             peak_intervals[interval_count++] = interval;
         }
     }

     if (interval_count < 2) return 0.0f;

     // Calculate median interval for stability
     for (i = 0; i < interval_count - 1; i++) {
         for (uint8_t j = 0; j < interval_count - i - 1; j++) {
             if (peak_intervals[j] > peak_intervals[j + 1]) {
                 uint32_t temp = peak_intervals[j];
                 peak_intervals[j] = peak_intervals[j + 1];
                 peak_intervals[j + 1] = temp;
             }
         }
     }

     uint32_t median_interval = peak_intervals[interval_count / 2];

     // Also calculate mean for comparison
     uint32_t sum_intervals = 0;
     for (i = 0; i < interval_count; i++) {
         sum_intervals += peak_intervals[i];
     }
     uint32_t mean_interval = sum_intervals / interval_count;

     // Use median if it's close to mean (more stable), otherwise use mean
     uint32_t final_interval = (abs((int32_t)median_interval - (int32_t)mean_interval) < mean_interval * 0.1f) ?
                               median_interval : mean_interval;

     float heart_rate = (SAMPLING_RATE_HZ * 60.0f) / (float)final_interval;

     // Validate range
     if (heart_rate < 40 || heart_rate > 200) {
         return 0.0f;
     }

     return heart_rate;
 }

 /* Enhanced SpO2 calculation with better calibration */
 float CalculateSpO2Enhanced(void) {
     float red_ac = 0, red_dc_avg = 0;
     float ir_ac = 0, ir_dc_avg = 0;
     uint16_t i;

     // Use more samples for better accuracy
     uint16_t samples_to_use = (sensor_data.count > 200) ? 200 : sensor_data.count;
     uint16_t start_idx = sensor_data.count - samples_to_use;

     // Calculate DC components from recent samples
     for (i = start_idx; i < sensor_data.count; i++) {
         red_dc_avg += (float)sensor_data.red[i];
         ir_dc_avg += (float)sensor_data.ir[i];
     }
     red_dc_avg /= samples_to_use;
     ir_dc_avg /= samples_to_use;

     // Calculate AC RMS from filtered signal
     for (i = start_idx; i < sensor_data.count; i++) {
         red_ac += sensor_data.red_filtered[i] * sensor_data.red_filtered[i];
         ir_ac += sensor_data.ir_filtered[i] * sensor_data.ir_filtered[i];
     }
     red_ac = sqrtf(red_ac / samples_to_use);
     ir_ac = sqrtf(ir_ac / samples_to_use);

     if (red_dc_avg == 0 || ir_dc_avg == 0 || ir_ac == 0) {
         return 0.0f;
     }

     // Calculate R value
     float ratio_of_ratios = (red_ac / red_dc_avg) / (ir_ac / ir_dc_avg);

     // Improved calibration formula (may need adjustment for your sensor)
     float spo2;
     if (ratio_of_ratios < 0.5f) {
         spo2 = 100.0f;
     } else if (ratio_of_ratios < 3.4f) {
         spo2 = 104.0f - 17.0f * ratio_of_ratios;
     } else {
         spo2 = 70.0f;
     }

     // Validate range
     if (spo2 < 70 || spo2 > 100) {
         return 0.0f;
     }

     return spo2;
 }

 /* Add reading to buffer and check stability */
 uint8_t AddReadingAndCheckStability(float hr, float spo2) {
     static uint8_t initialized = 0;

     if (!initialized) {
         memset(vital_signs.heart_rate_buffer, 0, sizeof(vital_signs.heart_rate_buffer));
         memset(vital_signs.spo2_buffer, 0, sizeof(vital_signs.spo2_buffer));
         vital_signs.hr_buffer_index = 0;
         vital_signs.spo2_buffer_index = 0;
         vital_signs.hr_valid_count = 0;
         vital_signs.spo2_valid_count = 0;
         initialized = 1;
     }

     // Add HR reading
     if (hr > 0) {
         vital_signs.heart_rate_buffer[vital_signs.hr_buffer_index] = hr;
         vital_signs.hr_buffer_index = (vital_signs.hr_buffer_index + 1) % 10;
         if (vital_signs.hr_valid_count < 10) vital_signs.hr_valid_count++;
     }

     // Add SpO2 reading
     if (spo2 > 0) {
         vital_signs.spo2_buffer[vital_signs.spo2_buffer_index] = spo2;
         vital_signs.spo2_buffer_index = (vital_signs.spo2_buffer_index + 1) % 10;
         if (vital_signs.spo2_valid_count < 10) vital_signs.spo2_valid_count++;
     }

     // Check stability only if we have enough readings
     if (vital_signs.hr_valid_count < 5 || vital_signs.spo2_valid_count < 5) {
         return 0; // Not enough readings
     }

     // Calculate mean and check variation
     float hr_sum = 0, spo2_sum = 0;
     float hr_min = 999, hr_max = 0;
     float spo2_min = 999, spo2_max = 0;

     uint8_t hr_count = (vital_signs.hr_valid_count < 10) ? vital_signs.hr_valid_count : 10;
     uint8_t spo2_count = (vital_signs.spo2_valid_count < 10) ? vital_signs.spo2_valid_count : 10;

     for (uint8_t i = 0; i < hr_count; i++) {
         hr_sum += vital_signs.heart_rate_buffer[i];
         if (vital_signs.heart_rate_buffer[i] < hr_min) hr_min = vital_signs.heart_rate_buffer[i];
         if (vital_signs.heart_rate_buffer[i] > hr_max) hr_max = vital_signs.heart_rate_buffer[i];
     }

     for (uint8_t i = 0; i < spo2_count; i++) {
         spo2_sum += vital_signs.spo2_buffer[i];
         if (vital_signs.spo2_buffer[i] < spo2_min) spo2_min = vital_signs.spo2_buffer[i];
         if (vital_signs.spo2_buffer[i] > spo2_max) spo2_max = vital_signs.spo2_buffer[i];
     }

     vital_signs.stable_heart_rate = hr_sum / hr_count;
     vital_signs.stable_spo2 = spo2_sum / spo2_count;

     // Check if readings are stable
     uint8_t hr_stable = (hr_max - hr_min) <= MAX_HR_VARIATION;
     uint8_t spo2_stable = (spo2_max - spo2_min) <= MAX_SPO2_VARIATION;

     if (hr_stable && spo2_stable) {
         vital_signs.stability_counter++;
         return (vital_signs.stability_counter >= STABILITY_THRESHOLD) ? 1 : 0;
     } else {
         vital_signs.stability_counter = 0;
         return 0;
     }
 }

 /* Enhanced finger detection */
 uint8_t DetectFingerPresenceEnhanced(void) {
     uint32_t avg_red = 0, avg_ir = 0;
     uint16_t samples_to_check = (sensor_data.count > 50) ? 50 : sensor_data.count;
     uint16_t i;

     if (samples_to_check < 10) return 0;

     // Check recent samples
     for (i = sensor_data.count - samples_to_check; i < sensor_data.count; i++) {
         avg_red += sensor_data.red[i];
         avg_ir += sensor_data.ir[i];
     }
     avg_red /= samples_to_check;
     avg_ir /= samples_to_check;

     // Multiple criteria for finger detection
     uint8_t finger_present = 0;

     // Signal strength check
     if (avg_ir > 30000 && avg_red > 30000) finger_present++;

     // Signal quality check
     if (sensor_data.signal_quality > SIGNAL_QUALITY_THRESHOLD) finger_present++;

     // AC component check (perfusion indicator)
     float ir_variance = 0;
     for (i = sensor_data.count - samples_to_check; i < sensor_data.count - 1; i++) {
         float diff = (float)sensor_data.ir[i+1] - (float)sensor_data.ir[i];
         ir_variance += diff * diff;
     }
     ir_variance /= (samples_to_check - 1);

     if (ir_variance > 1000 && ir_variance < 100000000) finger_present++;

     return (finger_present >= 2) ? 1 : 0;
 }

 /* Main processing function with delayed output */
 void ProcessVitalSigns(void) {
     static uint32_t last_output_time = 0;
     static uint8_t first_output_done = 0;
     uint32_t current_time = HAL_GetTick();

     // Assess signal quality first
     sensor_data.signal_quality = AssessSignalQuality();

     // Check finger presence
     vital_signs.finger_detected = DetectFingerPresenceEnhanced();

     if (!vital_signs.finger_detected || sensor_data.signal_quality < SIGNAL_QUALITY_THRESHOLD) {
         vital_signs.valid_reading = 0;
         vital_signs.stability_counter = 0;
         printf("Place finger properly on sensor\r\n");
         return;
     }

     if (sensor_data.count < MIN_SAMPLES_FOR_SPO2) {
         printf("Collecting data... (%d/%d)\r\n", sensor_data.count, MIN_SAMPLES_FOR_SPO2);
         return;
     }

     // Calculate readings
     float current_hr = CalculateHeartRateEnhanced();
     float current_spo2 = CalculateSpO2Enhanced();

     if (current_hr > 0 && current_spo2 > 0) {
         uint8_t stable = AddReadingAndCheckStability(current_hr, current_spo2);

         // Only output after initial delay and then at specified intervals
         if (!first_output_done) {
             if (current_time > OUTPUT_DELAY_MS && stable) {
                 printf("HR: %.1f BPM, SpO2: %.1f%% (Quality: %d%%)\r\n",
                        vital_signs.stable_heart_rate, vital_signs.stable_spo2, sensor_data.signal_quality);
                 vital_signs.valid_reading = 1;
                 vital_signs.last_valid_time = current_time;
                 first_output_done = 1;
                 last_output_time = current_time;
             } else if (stable) {
                 printf("Stabilizing... HR: %.1f, SpO2: %.1f\r\n",
                        vital_signs.stable_heart_rate, vital_signs.stable_spo2);
             }
         } else {
             // Regular updates after stabilization
             if (stable && (current_time - last_output_time) >= UPDATE_INTERVAL_MS) {
                 printf("HR: %.1f BPM, SpO2: %.1f%% (Quality: %d%%)\r\n",
                        vital_signs.stable_heart_rate, vital_signs.stable_spo2, sensor_data.signal_quality);
                 vital_signs.valid_reading = 1;
                 vital_signs.last_valid_time = current_time;
                 last_output_time = current_time;
             }
         }
     }
 }

 void HAL_TIM_PeriodElapsedCallback(TIM_HandleTypeDef *htim) {
     if (htim->Instance == TIM2) {
         MAX30102_ReadFIFO();  // Read sensor data at 100Hz
     }
 }

 /* Blink LED to indicate data reading */
 void BlinkLED(void) {
     static uint32_t last_blink = 0;
     uint32_t current_time = HAL_GetTick();

     if (current_time - last_blink > 100) {  // Blink every 100ms
         HAL_GPIO_TogglePin(GPIOB, GPIO_PIN_0);  // Use configured output pin
         last_blink = current_time;
     }
 }

/* USER CODE END 4 */

void Error_Handler(void)
{
  __disable_irq();
  while (1)
  {
  }
}
